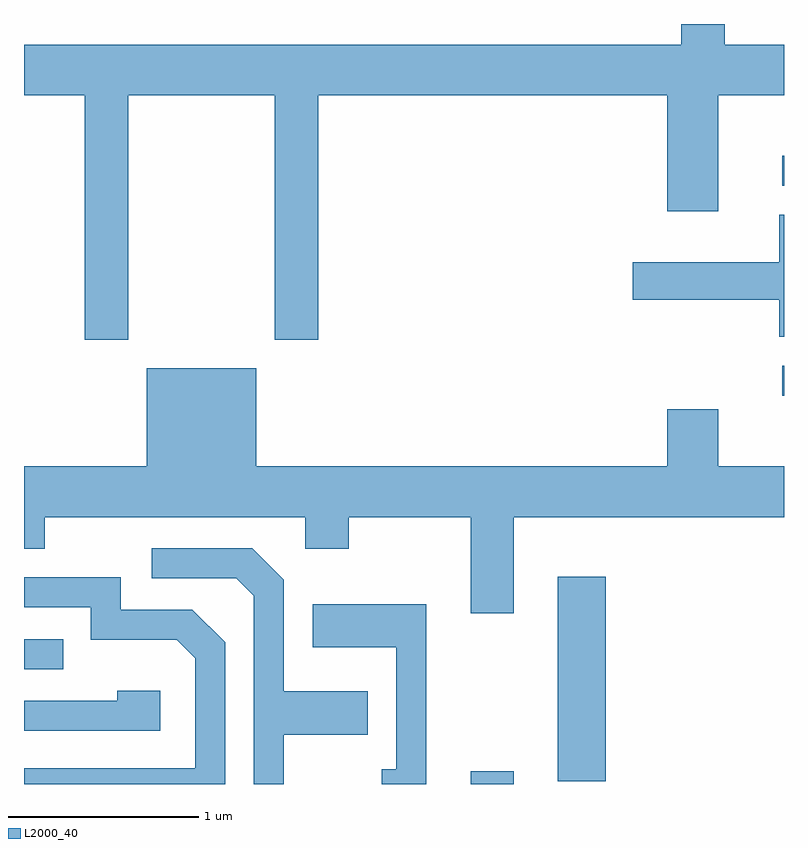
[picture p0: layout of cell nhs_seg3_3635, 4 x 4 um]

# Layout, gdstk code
import gdstk
lib = gdstk.Library(unit=1e-6, precision=1e-09)
def R(c, l, rs):  # rectangles x0, y0, x1, y1
    for r in rs: c.add(gdstk.rectangle(r[:2], r[2:], *l))
def P(c, l, *ps):  # polygons
    for p in ps: c.add(gdstk.Polygon(p, *l))
L2000_40 = (2000, 40)

nhs_seg3_3635 = lib.new_cell('nhs_seg3_3635')
R(nhs_seg3_3635, L2000_40, [(293.961,1177.892,294.189,1177.959), (294.421,1177.906,294.674,1178.984), (291.611,1178.496,291.818,1178.654), (295.603,1179.936,295.611,1180.094), (295.603,1181.041,295.611,1181.199)])
P(nhs_seg3_3635, L2000_40, [(292.159,1181.516),(292.931,1181.516),(292.931,1180.231),(293.159,1180.231),(293.159,1181.516),(294.996,1181.516),(294.996,1180.906),(295.264,1180.906),(295.264,1181.516),(295.611,1181.516),(295.611,1181.784),(295.299,1181.784),(295.299,1181.892),(295.071,1181.892),(295.071,1181.784),(291.611,1181.784),(291.611,1181.516),(291.931,1181.516),(291.931,1180.231),(292.159,1180.231)],
  [(295.611,1180.889),(295.586,1180.889),(295.586,1180.639),(294.816,1180.639),(294.816,1180.441),(295.586,1180.441),(295.586,1180.246),(295.611,1180.246)],
  [(294.189,1179.296),(295.611,1179.296),(295.611,1179.564),(295.264,1179.564),(295.264,1179.864),(294.996,1179.864),(294.996,1179.564),(292.834,1179.564),(292.834,1180.079),(292.256,1180.079),(292.256,1179.564),(291.611,1179.564),(291.611,1179.131),(291.719,1179.131),(291.719,1179.296),(293.091,1179.296),(293.091,1179.131),(293.319,1179.131),(293.319,1179.296),(293.961,1179.296),(293.961,1178.791),(294.189,1178.791)],
  [(292.979,1178.151),(293.419,1178.151),(293.419,1178.379),(292.979,1178.379),(292.979,1178.967),(292.812,1179.134),(292.283,1179.134),(292.283,1178.976),(292.729,1178.976),(292.821,1178.884),(292.821,1177.892),(292.979,1177.892)],
  [(292.669,1178.637),(292.497,1178.809),(292.119,1178.809),(292.119,1178.979),(291.611,1178.979),(291.611,1178.821),(291.961,1178.821),(291.961,1178.651),(292.414,1178.651),(292.511,1178.554),(292.511,1177.974),(291.611,1177.974),(291.611,1177.892),(292.669,1177.892)],
  [(293.729,1178.839),(293.131,1178.839),(293.131,1178.611),(293.571,1178.611),(293.571,1177.969),(293.493,1177.969),(293.493,1177.892),(293.729,1177.892)],
  [(292.329,1178.384),(292.101,1178.384),(292.101,1178.329),(291.611,1178.329),(291.611,1178.171),(292.329,1178.171)])

lib.write_gds('nhs_seg3_3635.gds')
